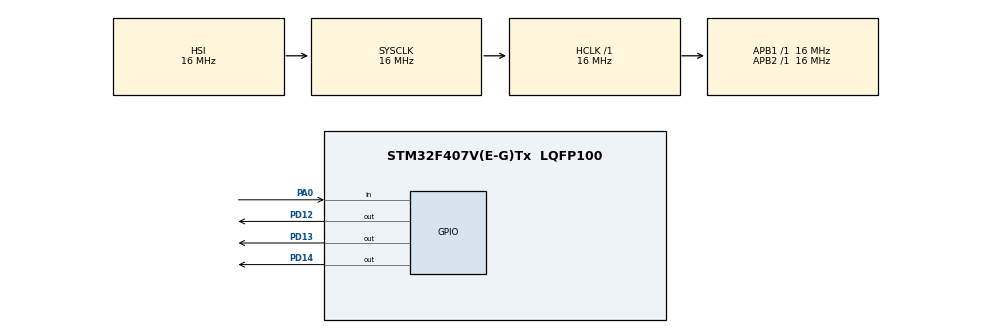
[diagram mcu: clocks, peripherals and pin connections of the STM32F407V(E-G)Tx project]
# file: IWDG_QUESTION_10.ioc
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IWDG.Prescaler=IWDG_PRESCALER_32
IWDG.Reload=2000
Mcu.Family=STM32F4
Mcu.Name=STM32F407V(E-G)Tx
Mcu.Package=LQFP100
NVIC.PriorityGroup=NVIC_PRIORITYGROUP_4
NVIC.TIM3_IRQn=true\:0\:0\:false\:false\:true\:true\:true\:true
PA0-WKUP.Signal=GPIO_Input
PD12.Signal=GPIO_Output
PD13.Signal=GPIO_Output
PD14.Signal=GPIO_Output
ProjectManager.HeapSize=0x200
ProjectManager.StackSize=0x400
ProjectManager.TargetToolchain=STM32CubeIDE
RCC.AHBFreq_Value=16000000
RCC.APB1Freq_Value=16000000
RCC.APB2Freq_Value=16000000
RCC.CortexFreq_Value=16000000
RCC.HSE_VALUE=25000000
RCC.HSI_VALUE=16000000
RCC.LSE_VALUE=32768
RCC.SYSCLKFreq_VALUE=16000000
RCC.VCOOutputFreq_Value=192000000
TIM3.Prescaler=16000
VP_IWDG_VS_IWDG.Mode=IWDG_Activate
VP_TIM3_VS_ClockSourceINT.Mode=Internal
board=custom

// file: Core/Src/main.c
/* USER CODE BEGIN Header */
/**
  ******************************************************************************
  * @file           : main.c
  * @brief          : Main program body
  ******************************************************************************
  * @attention
  *
  * Copyright (c) 2026 STMicroelectronics.
  * All rights reserved.
  *
  * This software is licensed under terms that can be found in the LICENSE file
  * in the root directory of this software component.
  * If no LICENSE file comes with this software, it is provided AS-IS.
  *
  ******************************************************************************
  */
/* USER CODE END Header */
#include "main.h"

IWDG_HandleTypeDef hiwdg;

TIM_HandleTypeDef htim3;

/* USER CODE BEGIN PV */
volatile int heartbeat = 0;
volatile uint32_t reset_cause = 0;

int fault_state = 0;
uint32_t btn_hold_start = 0;
uint32_t blink_timer = 0;

/* USER CODE END PV */

void SystemClock_Config(void);
static void MX_GPIO_Init(void);
static void MX_IWDG_Init(void);
static void MX_TIM3_Init(void);

int main(void)
{

  /* MCU Configuration--------------------------------------------------------*/

  /* Reset of all peripherals, Initializes the Flash interface and the Systick. */
  HAL_Init();

  /* Configure the system clock */
  SystemClock_Config();

  /* Initialize all configured peripherals */
  MX_GPIO_Init();
  MX_IWDG_Init();
  MX_TIM3_Init();
  /* USER CODE BEGIN 2 */

  /* USER CODE BEGIN 2 */

    if(__HAL_RCC_GET_FLAG(RCC_FLAG_IWDGRST) != RESET)
    {
        reset_cause = RCC_FLAG_IWDGRST;

        HAL_GPIO_WritePin(GPIOD, GPIO_PIN_14, GPIO_PIN_SET);

        HAL_Delay(1000);
        HAL_IWDG_Refresh(&hiwdg);
        HAL_Delay(1000);
        HAL_IWDG_Refresh(&hiwdg);
        HAL_Delay(1000);

        HAL_GPIO_WritePin(GPIOD, GPIO_PIN_14, GPIO_PIN_RESET);

        __HAL_RCC_CLEAR_RESET_FLAGS();
    }

    HAL_TIM_Base_Start_IT(&htim3);

  /* USER CODE END 2 */

  /* Infinite loop */
  while (1)
  {

    /* USER CODE BEGIN 3 */
	  if(HAL_GPIO_ReadPin(GPIOA, GPIO_PIN_0) == GPIO_PIN_SET)
	  {
		  if(btn_hold_start == 0)
		  {
			  btn_hold_start = HAL_GetTick();
		  }
		  else if((HAL_GetTick() - btn_hold_start) >= 3000)
		  {
			  fault_state = 1;
		  }
	  }
	  else{
		  btn_hold_start = 0;
	  }

	  if(!fault_state)
	  {
		  HAL_GPIO_WritePin(GPIOD, GPIO_PIN_12, GPIO_PIN_SET);

		  if(heartbeat)
		  {
			  HAL_IWDG_Refresh(&hiwdg);
			  heartbeat = 0;
		  }

		  if (HAL_GetTick() - blink_timer >= 250)
		  {
			  HAL_GPIO_TogglePin(GPIOD, GPIO_PIN_13);
			  blink_timer = HAL_GetTick();
		  }
	  }
	  else{
		  HAL_GPIO_WritePin(GPIOD, GPIO_PIN_12 | GPIO_PIN_13, GPIO_PIN_RESET);
	  }
  }
  /* USER CODE END 3 */
}

void SystemClock_Config(void)
{
  RCC_OscInitTypeDef RCC_OscInitStruct = {0};
  RCC_ClkInitTypeDef RCC_ClkInitStruct = {0};

  /** Configure the main internal regulator output voltage
  */
  __HAL_RCC_PWR_CLK_ENABLE();
  __HAL_PWR_VOLTAGESCALING_CONFIG(PWR_REGULATOR_VOLTAGE_SCALE1);

  /** Initializes the RCC Oscillators according to the specified parameters
  * in the RCC_OscInitTypeDef structure.
  */
  RCC_OscInitStruct.OscillatorType = RCC_OSCILLATORTYPE_HSI|RCC_OSCILLATORTYPE_LSI;
  RCC_OscInitStruct.HSIState = RCC_HSI_ON;
  RCC_OscInitStruct.HSICalibrationValue = RCC_HSICALIBRATION_DEFAULT;
  RCC_OscInitStruct.LSIState = RCC_LSI_ON;
  RCC_OscInitStruct.PLL.PLLState = RCC_PLL_NONE;
  if (HAL_RCC_OscConfig(&RCC_OscInitStruct) != HAL_OK)
  {
    Error_Handler();
  }

  /** Initializes the CPU, AHB and APB buses clocks
  */
  RCC_ClkInitStruct.ClockType = RCC_CLOCKTYPE_HCLK|RCC_CLOCKTYPE_SYSCLK
                              |RCC_CLOCKTYPE_PCLK1|RCC_CLOCKTYPE_PCLK2;
  RCC_ClkInitStruct.SYSCLKSource = RCC_SYSCLKSOURCE_HSI;
  RCC_ClkInitStruct.AHBCLKDivider = RCC_SYSCLK_DIV1;
  RCC_ClkInitStruct.APB1CLKDivider = RCC_HCLK_DIV1;
  RCC_ClkInitStruct.APB2CLKDivider = RCC_HCLK_DIV1;

  if (HAL_RCC_ClockConfig(&RCC_ClkInitStruct, FLASH_LATENCY_0) != HAL_OK)
  {
    Error_Handler();
  }
}

static void MX_IWDG_Init(void)
{

  hiwdg.Instance = IWDG;
  hiwdg.Init.Prescaler = IWDG_PRESCALER_32;
  hiwdg.Init.Reload = 2000;
  if (HAL_IWDG_Init(&hiwdg) != HAL_OK)
  {
    Error_Handler();
  }

}

static void MX_TIM3_Init(void)
{

  TIM_ClockConfigTypeDef sClockSourceConfig = {0};
  TIM_MasterConfigTypeDef sMasterConfig = {0};

  htim3.Instance = TIM3;
  htim3.Init.Prescaler = 16000;
  htim3.Init.CounterMode = TIM_COUNTERMODE_UP;
  htim3.Init.Period = 200;
  htim3.Init.ClockDivision = TIM_CLOCKDIVISION_DIV1;
  htim3.Init.AutoReloadPreload = TIM_AUTORELOAD_PRELOAD_DISABLE;
  if (HAL_TIM_Base_Init(&htim3) != HAL_OK)
  {
    Error_Handler();
  }
  sClockSourceConfig.ClockSource = TIM_CLOCKSOURCE_INTERNAL;
  if (HAL_TIM_ConfigClockSource(&htim3, &sClockSourceConfig) != HAL_OK)
  {
    Error_Handler();
  }
  sMasterConfig.MasterOutputTrigger = TIM_TRGO_RESET;
  sMasterConfig.MasterSlaveMode = TIM_MASTERSLAVEMODE_DISABLE;
  if (HAL_TIMEx_MasterConfigSynchronization(&htim3, &sMasterConfig) != HAL_OK)
  {
    Error_Handler();
  }

}

static void MX_GPIO_Init(void)
{
  GPIO_InitTypeDef GPIO_InitStruct = {0};

  /* GPIO Ports Clock Enable */
  __HAL_RCC_GPIOA_CLK_ENABLE();
  __HAL_RCC_GPIOD_CLK_ENABLE();

  /*Configure GPIO pin Output Level */
  HAL_GPIO_WritePin(GPIOD, GPIO_PIN_12|GPIO_PIN_13|GPIO_PIN_14, GPIO_PIN_RESET);

  /*Configure GPIO pin : PA0 */
  GPIO_InitStruct.Pin = GPIO_PIN_0;
  GPIO_InitStruct.Mode = GPIO_MODE_INPUT;
  GPIO_InitStruct.Pull = GPIO_NOPULL;
  HAL_GPIO_Init(GPIOA, &GPIO_InitStruct);

  /*Configure GPIO pins : PD12 PD13 PD14 */
  GPIO_InitStruct.Pin = GPIO_PIN_12|GPIO_PIN_13|GPIO_PIN_14;
  GPIO_InitStruct.Mode = GPIO_MODE_OUTPUT_PP;
  GPIO_InitStruct.Pull = GPIO_NOPULL;
  GPIO_InitStruct.Speed = GPIO_SPEED_FREQ_LOW;
  HAL_GPIO_Init(GPIOD, &GPIO_InitStruct);

}

/* USER CODE BEGIN 4 */
void HAL_TIM_PeriodElapsedCallback(TIM_HandleTypeDef *htim)
{
    if (htim->Instance == TIM3)
    {
        heartbeat = 1;
    }
}
/* USER CODE END 4 */

void Error_Handler(void)
{
  __disable_irq();
  while (1)
  {
  }
}
